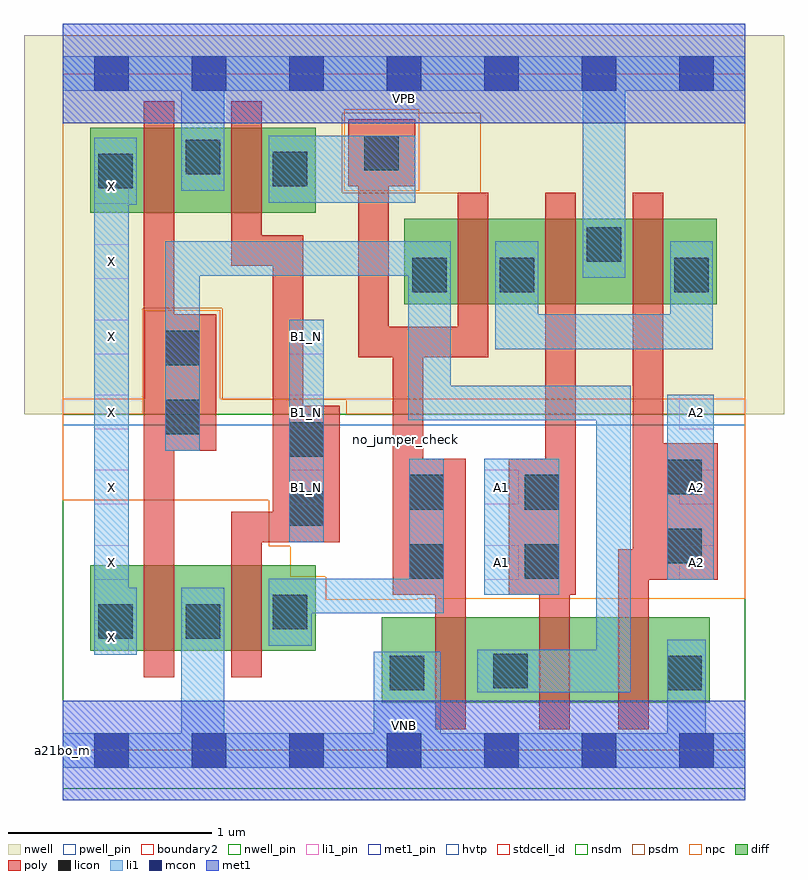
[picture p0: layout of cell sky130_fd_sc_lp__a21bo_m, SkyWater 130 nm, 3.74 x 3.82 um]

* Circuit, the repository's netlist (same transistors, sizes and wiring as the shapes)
* Copyright 2020 The SkyWater PDK Authors
*
* Licensed under the Apache License, Version 2.0 (the "License");
* you may not use this file except in compliance with the License.
* You may obtain a copy of the License at
*
*     https://www.apache.org/licenses/LICENSE-2.0
*
* Unless required by applicable law or agreed to in writing, software
* distributed under the License is distributed on an "AS IS" BASIS,
* WITHOUT WARRANTIES OR CONDITIONS OF ANY KIND, either express or implied.
* See the License for the specific language governing permissions and
* limitations under the License.
*
* SPDX-License-Identifier: Apache-2.0

.SUBCKT sky130_fd_sc_lp__a21bo_m A1 A2 B1_N VGND VNB VPB VPWR X
*.PININFO A1:I A2:I B1_N:I VGND:I VNB:I VPB:I VPWR:I X:O
MMPA0 pndA A1 VPWR VPB sky130_fd_pr__pfet_01v8_hvt m=1 w=0.42U l=0.15U mult=1 sa=0.265
+ sb=0.265 sd=0.28 area=0.063 perim=1.14
MMPA1 pndA A2 VPWR VPB sky130_fd_pr__pfet_01v8_hvt m=1 w=0.42U l=0.15U mult=1 sa=0.265
+ sb=0.265 sd=0.28 area=0.063 perim=1.14
MMPB0 y B1 pndA VPB sky130_fd_pr__pfet_01v8_hvt m=1 w=0.42U l=0.15U mult=1 sa=0.265
+ sb=0.265 sd=0.28 area=0.063 perim=1.14
MMIPB1N B1 B1_N VPWR VPB sky130_fd_pr__pfet_01v8_hvt m=1 w=0.42U l=0.15U mult=1
+ sa=0.265 sb=0.265 sd=0.28 area=0.063 perim=1.14
MMIPX X y VPWR VPB sky130_fd_pr__pfet_01v8_hvt m=1 w=0.42U l=0.15U mult=1 sa=0.265
+ sb=0.265 sd=0.28 area=0.063 perim=1.14
MMNA0 y A1 sndA1 VNB sky130_fd_pr__nfet_01v8 m=1 w=0.42U l=0.15U mult=1 sa=0.265
+ sb=0.265 sd=0.28 area=0.063 perim=1.14
MMNA1 sndA1 A2 VGND VNB sky130_fd_pr__nfet_01v8 m=1 w=0.42U l=0.15U mult=1 sa=0.265
+ sb=0.265 sd=0.28 area=0.063 perim=1.14
MMNB0 y B1 VGND VNB sky130_fd_pr__nfet_01v8 m=1 w=0.42U l=0.15U mult=1 sa=0.265
+ sb=0.265 sd=0.28 area=0.063 perim=1.14
MMINB1N B1 B1_N VGND VNB sky130_fd_pr__nfet_01v8 m=1 w=0.42U l=0.15U mult=1 sa=0.265
+ sb=0.265 sd=0.28 area=0.063 perim=1.14
MMINX X y VGND VNB sky130_fd_pr__nfet_01v8 m=1 w=0.42U l=0.15U mult=1 sa=0.265
+ sb=0.265 sd=0.28 area=0.063 perim=1.14
.ENDS sky130_fd_sc_lp__a21bo_m

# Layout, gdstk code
import gdstk
lib = gdstk.Library(unit=1e-6, precision=1e-09)
def R(c, l, rs):  # rectangles x0, y0, x1, y1
    for r in rs: c.add(gdstk.rectangle(r[:2], r[2:], *l))
def A(c, l, x, y, w, h, nx, ny, dx, dy):  # array of equal rectangles
    R(c, l, [(x+i*dx, y+j*dy, x+i*dx+w, y+j*dy+h) for i in range(nx) for j in range(ny)])
def P(c, l, *ps):  # polygons
    for p in ps: c.add(gdstk.Polygon(p, *l))
nwell_pin = (64, 16)
nwell = (64, 20)
diff = (65, 20)
poly = (66, 20)
licon = (66, 44)
li1_pin = (67, 16)
li1 = (67, 20)
mcon = (67, 44)
met1_pin = (68, 16)
met1 = (68, 20)
hvtp = (78, 44)
stdcell_id = (81, 4)
nsdm = (93, 44)
psdm = (94, 20)
npc = (95, 20)
pwell_pin = (122, 16)
boundary2 = (236, 0)

sky130_fd_sc_lp__a21bo_m = lib.new_cell('sky130_fd_sc_lp__a21bo_m')
R(sky130_fd_sc_lp__a21bo_m, nwell_pin, [(0,3.085,3.36,3.33)])
R(sky130_fd_sc_lp__a21bo_m, nwell, [(-0.19,1.655,3.55,3.52)])
R(sky130_fd_sc_lp__a21bo_m, diff, [(1.57,0.235,3.185,0.655), (0.135,0.49,1.245,0.91), (1.68,2.195,3.22,2.615), (0.135,2.645,1.245,3.065)])
P(sky130_fd_sc_lp__a21bo_m, poly, [(0.755,2.145),(0.55,2.145),(0.55,3.195),(0.4,3.195),(0.4,0.36),(0.55,0.36),(0.55,1.475),(0.755,1.475)],
  [(1.365,1.695),(1.185,1.695),(1.185,2.535),(0.98,2.535),(0.98,3.195),(0.83,3.195),(0.83,2.385),(1.035,2.385),(1.035,1.175),(0.83,1.175),(0.83,0.36),(0.98,0.36),(0.98,1.025),(1.365,1.025)],
  [(2.095,2.745),(1.945,2.745),(1.945,2.085),(1.605,2.085),(1.605,2.775),(1.735,2.775),(1.735,3.105),(1.405,3.105),(1.405,2.775),(1.455,2.775),(1.455,1.935),(1.625,1.935),(1.625,0.765),(1.835,0.765),(1.835,0.105),(1.985,0.105),(1.985,1.435),(1.775,1.435),(1.775,1.935),(2.095,1.935)],
  [(2.525,2.745),(2.375,2.745),(2.375,1.435),(2.195,1.435),(2.195,0.765),(2.345,0.765),(2.345,0.105),(2.495,0.105),(2.495,0.765),(2.525,0.765)],
  [(3.225,1.51),(2.955,1.51),(2.955,2.745),(2.805,2.745),(2.805,0.99),(2.735,0.99),(2.735,0.105),(2.885,0.105),(2.885,0.84),(3.225,0.84)])
R(sky130_fd_sc_lp__a21bo_m, licon, [(1.61,0.295,1.78,0.465), (2.975,0.295,3.145,0.465), (2.12,0.305,2.29,0.475), (0.175,0.55,0.345,0.72), (0.605,0.55,0.775,0.72), (1.035,0.595,1.205,0.765), (1.705,0.845,1.875,1.015), (2.275,0.845,2.445,1.015), (2.975,0.92,3.145,1.09), (1.115,1.105,1.285,1.275), (1.705,1.185,1.875,1.355), (2.275,1.185,2.445,1.355), (2.975,1.26,3.145,1.43), (1.115,1.445,1.285,1.615), (0.505,1.555,0.675,1.725), (0.505,1.895,0.675,2.065), (1.72,2.255,1.89,2.425), (2.15,2.255,2.32,2.425), (3.01,2.255,3.18,2.425), (2.58,2.405,2.75,2.575), (0.175,2.765,0.345,2.935), (1.035,2.775,1.205,2.945), (0.605,2.835,0.775,3.005), (1.485,2.855,1.655,3.025)])
A(sky130_fd_sc_lp__a21bo_m, li1_pin, 0.155, 1.21, 0.17, 0.17, 4, 1, 0.96, 0)
A(sky130_fd_sc_lp__a21bo_m, li1_pin, 0.155, 1.58, 0.17, 0.17, 1, 4, 0, 0.37)
R(sky130_fd_sc_lp__a21bo_m, li1_pin, [(0.155,0.47,0.325,0.64), (0.155,0.84,0.325,1.01), (2.075,0.84,2.245,1.01), (3.035,0.84,3.205,1.01), (1.115,1.58,1.285,1.75), (3.035,1.58,3.205,1.75), (1.115,1.95,1.285,2.12)])
R(sky130_fd_sc_lp__a21bo_m, li1, [(2.075,0.765,2.445,1.435), (2.975,0.84,3.205,1.75), (1.115,1.025,1.285,2.12), (1.015,2.695,1.735,3.025)])
P(sky130_fd_sc_lp__a21bo_m, li1, [(0.585,2.755),(0.585,3.245),(0,3.245),(0,3.415),(3.36,3.415),(3.36,3.245),(2.77,3.245),(2.77,2.325),(2.56,2.325),(2.56,3.245),(0.795,3.245),(0.795,2.755)],
  [(2.975,0.085),(2.975,0.545),(3.165,0.545),(3.165,0.085),(3.36,0.085),(3.36,-0.085),(0,-0.085),(0,0.085),(0.585,0.085),(0.585,0.8),(0.795,0.8),(0.795,0.085),(1.53,0.085),(1.53,0.485),(1.86,0.485),(1.86,0.085)],
  [(1.7,2.335),(0.675,2.335),(0.675,1.475),(0.505,1.475),(0.505,2.505),(1.91,2.505),(1.91,1.795),(2.795,1.795),(2.795,0.285),(2.04,0.285),(2.04,0.495),(2.625,0.495),(2.625,1.625),(1.7,1.625)],
  [(0.155,0.47),(0.155,3.015),(0.365,3.015),(0.365,2.685),(0.325,2.685),(0.325,0.8),(0.365,0.8),(0.365,0.47)],
  [(1.705,0.845),(1.705,1.435),(1.875,1.435),(1.875,0.675),(1.225,0.675),(1.225,0.515),(1.015,0.515),(1.015,0.845)],
  [(2.99,2.145),(2.99,2.505),(3.2,2.505),(3.2,1.975),(2.13,1.975),(2.13,2.505),(2.34,2.505),(2.34,2.145)])
A(sky130_fd_sc_lp__a21bo_m, mcon, 0.155, -0.085, 0.17, 0.17, 7, 2, 0.48, 3.33)
R(sky130_fd_sc_lp__a21bo_m, met1_pin, [(0,0,3.36,0.245), (0,3.085,3.36,3.33)])
R(sky130_fd_sc_lp__a21bo_m, met1, [(0,-0.245,3.36,0.245), (0,3.085,3.36,3.575)])
R(sky130_fd_sc_lp__a21bo_m, hvtp, [(0,1.6,3.36,3.33)])
R(sky130_fd_sc_lp__a21bo_m, stdcell_id, [(0,0,3.36,3.33)])
R(sky130_fd_sc_lp__a21bo_m, nsdm, [(0,-0.19,3.36,1.655)])
P(sky130_fd_sc_lp__a21bo_m, psdm, [(3.36,3.52),(2.055,3.52),(2.055,2.745),(1.375,2.745),(1.375,3.135),(2.055,3.135),(2.055,3.52),(0,3.52),(0,1.655),(0.395,1.655),(0.395,2.175),(0.785,2.175),(0.785,1.725),(1.395,1.725),(1.395,1.655),(3.36,1.655)])
R(sky130_fd_sc_lp__a21bo_m, npc, [(1.385,2.755,1.755,3.155)])
P(sky130_fd_sc_lp__a21bo_m, npc, [(3.36,1.73),(0.775,1.73),(0.775,2.165),(0.405,2.165),(0.405,1.73),(0,1.73),(0,1.23),(1.015,1.23),(1.015,1.005),(1.12,1.005),(1.12,0.855),(1.295,0.855),(1.295,0.74),(1.745,0.74),(1.745,0.745),(3.36,0.745)])
R(sky130_fd_sc_lp__a21bo_m, pwell_pin, [(0,0,3.36,0.245)])
R(sky130_fd_sc_lp__a21bo_m, boundary2, [(0,0,3.36,3.33)])
sky130_fd_sc_lp__a21bo_m.add(gdstk.Label('VNB', (1.68,0.123), layer=64, texttype=59))
sky130_fd_sc_lp__a21bo_m.add(gdstk.Label('VPB', (1.68,3.208), layer=64, texttype=5))
sky130_fd_sc_lp__a21bo_m.add(gdstk.Label('a21bo_m', (0,0), layer=83, texttype=44))
sky130_fd_sc_lp__a21bo_m.add(gdstk.Label('no_jumper_check', (1.685,1.53), layer=83, texttype=44))
sky130_fd_sc_lp__a21bo_m.add(gdstk.Label('VPWR', (1.68,3.208), layer=68, texttype=5))
sky130_fd_sc_lp__a21bo_m.add(gdstk.Label('VGND', (1.68,0.123), layer=68, texttype=5))
sky130_fd_sc_lp__a21bo_m.add(gdstk.Label('A2', (3.12,0.925), layer=67, texttype=5))
sky130_fd_sc_lp__a21bo_m.add(gdstk.Label('A2', (3.12,1.295), layer=67, texttype=5))
sky130_fd_sc_lp__a21bo_m.add(gdstk.Label('A2', (3.12,1.665), layer=67, texttype=5))
sky130_fd_sc_lp__a21bo_m.add(gdstk.Label('B1_N', (1.2,1.295), layer=67, texttype=5))
sky130_fd_sc_lp__a21bo_m.add(gdstk.Label('B1_N', (1.2,1.665), layer=67, texttype=5))
sky130_fd_sc_lp__a21bo_m.add(gdstk.Label('B1_N', (1.2,2.035), layer=67, texttype=5))
sky130_fd_sc_lp__a21bo_m.add(gdstk.Label('A1', (2.16,0.925), layer=67, texttype=5))
sky130_fd_sc_lp__a21bo_m.add(gdstk.Label('A1', (2.16,1.295), layer=67, texttype=5))
sky130_fd_sc_lp__a21bo_m.add(gdstk.Label('X', (0.24,0.555), layer=67, texttype=5))
sky130_fd_sc_lp__a21bo_m.add(gdstk.Label('X', (0.24,0.925), layer=67, texttype=5))
sky130_fd_sc_lp__a21bo_m.add(gdstk.Label('X', (0.24,1.295), layer=67, texttype=5))
sky130_fd_sc_lp__a21bo_m.add(gdstk.Label('X', (0.24,1.665), layer=67, texttype=5))
sky130_fd_sc_lp__a21bo_m.add(gdstk.Label('X', (0.24,2.035), layer=67, texttype=5))
sky130_fd_sc_lp__a21bo_m.add(gdstk.Label('X', (0.24,2.405), layer=67, texttype=5))
sky130_fd_sc_lp__a21bo_m.add(gdstk.Label('X', (0.24,2.775), layer=67, texttype=5))

lib.write_gds('sky130_fd_sc_lp__a21bo_m.gds')
